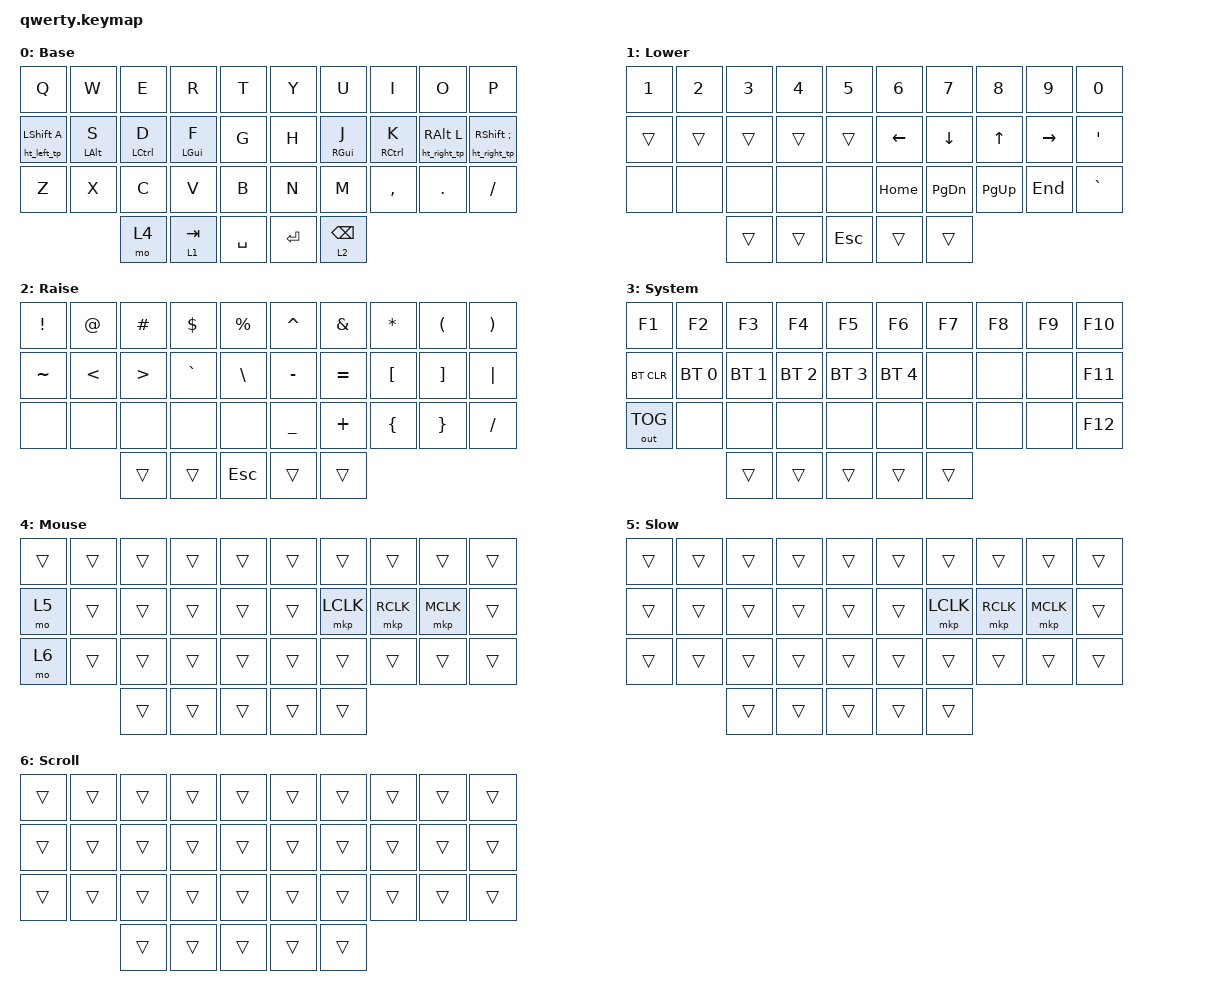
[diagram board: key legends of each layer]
/* upstream bindings and behaviors */
#include <behaviors.dtsi>
#include <dt-bindings/zmk/bt.h>
#include <dt-bindings/zmk/keys.h>
#include <dt-bindings/zmk/mouse.h>
#include <dt-bindings/zmk/outputs.h>
#include <behaviors/mouse_keys.dtsi>
#include <dt-bindings/zmk/ext_power.h>

/* local overlays */
#include "keymap_features/macros.dtsi"
#include "keymap_features/behaviors.dtsi"
#include "keymap_features/combos.dtsi"

/ {
/* --- KEYMAP CONFIG --- 3x5 Charybdis Nano, 35 keys per layer --- */
// ╭──────┬──────┬──────┬──────┬──────╮  ╭──────┬──────┬──────┬──────┬──────╮
//    00     01     02     03     04        05     06     07     08     09
// ├──────┼──────┼──────┼──────┼──────┤  ├──────┼──────┼──────┼──────┼──────┤
//    10     11     12     13     14        15     16     17     18     19
// ├──────┼──────┼──────┼──────┼──────┤  ├──────┼──────┼──────┼──────┼──────┤
//    20     21     22     23     24        25     26     27     28     29
// ╰──────┴──────┴──────┼──────┼──────┤  ├──────┼──────┼──────┴──────┴──────╯
//                         30     31     32     33     34
//                      ╰──────┴──────┴──────╯  ╰──────┴──────╯
//
// Cornix-style structure: 3 layers plus a tri-layer, down from the 8 this repo
// shipped. Home-row mod ORDER matches the Cornix and the Link
// (Shift Alt Ctrl Gui | Gui Ctrl Alt Shift), not the order this repo used.
//
// SCROLL and SLOW keep the trackball usable and their INDICES are referenced
// from config/trackball/charybdis_pointer.dtsi - renumbering them means
// editing that file too.
//
// Bootloader and sys_reset are deliberately NOT on any layer: they live on
// same-hand combos in combos.dtsi so neither needs the other hand.
//
// #define BASE    0
// #define LOWER   1   numbers, arrows           <- hold left thumb  (31)
// #define RAISE   2   symbols                   <- hold right thumb (34)
// #define SYSTEM  3   F-keys, bluetooth         <- hold 31 + 34 (tri-layer)
//   BT_SEL 0-4: all five profiles. The count is not a Kconfig - zmk/ble.h
//   computes it as BT_MAX_PAIRED(6) - SPLIT_BLE_CENTRAL_PERIPHERALS(1) = 5.
// #define MOUSE   4   ball still aims + J/K/L click <- hold left outer thumb (30)
// #define SLOW    5   precision pointer, ~267 CPI    <- hold 30, then A
// #define SCROLL  6   ball becomes a scroll wheel    <- hold 30, then Z
//
// MOUSE has no pointer override, so SLOW and SCROLL can hang off it without
// fighting it. Nesting SLOW inside SCROLL silently did nothing: both matched,
// and the first override declared in charybdis_pointer.dtsi won.
//
// Thumb 30 is a plain &mo, NOT a tap-dance. The tap-dance it replaced made the
// layer wait out its 150ms tapping term before even consulting its hold-tap,
// so clicks on this layer were 300ms+ away. &mo has no timing logic at all.
// ESC moved to the LOWER/RAISE thumbs (Cornix-style) for the same reason: as a
// tap-dance tap it had to wait 150ms to rule out a second tap.
//
// Row 3 right is &kp COMMA/DOT/FSLH, not the mm_* mod-morphs. Those overrode
// the natural shifted symbols, which made < > and ? unreachable.

    conditional_layers {
        compatible = "zmk,conditional-layers";
        tri_layer {
            if-layers = <1 2>;
            then-layer = <3>;
        };
    };

    keymap {
        compatible = "zmk,keymap";

        BASE {
            display-name = "Base";
            bindings = <
// ╭───────────────────┬───────────────┬────────────────┬───────────────┬──────╮  ╭──────┬─────────────────┬──────────────────┬───────────────────┬──────────────────────────────╮
    &kp Q                &kp W           &kp E            &kp R           &kp T    &kp Y   &kp U             &kp I              &kp O               &kp P
// ├───────────────────┼───────────────┼────────────────┼───────────────┼──────┤  ├──────┼─────────────────┼──────────────────┼───────────────────┼──────────────────────────────┤
    &ht_left_tp LSHFT A  &ht_left LALT S &ht_left LCTRL D &ht_left LGUI F &kp G    &kp H   &ht_right RGUI J  &ht_right RCTRL K  &ht_right_tp RALT L &ht_right_tp RSHFT SEMICOLON
// ├───────────────────┼───────────────┼────────────────┼───────────────┼──────┤  ├──────┼─────────────────┼──────────────────┼───────────────────┼──────────────────────────────┤
    &kp Z                &kp X           &kp C            &kp V           &kp B    &kp N   &kp M             &kp COMMA          &kp DOT             &kp FSLH
// ╰───────────────────┴───────────────┴────────────────┼───────────────┼──────┤  ├──────┼─────────────────┼──────────────────┴───────────────────┴──────────────────────────────╯
                                          &mo 4              &lt 1 TAB  &kp SPACE   &kp RET  &lt 2 BSPC
                                      // ╰─────────────────┴──────────┴──────╯  ╰────────┴───────────╯
            >;
        };

        LOWER {
            display-name = "Lower";
            bindings = <
// Row 1 passes through to BASE so the home-row mods still chord with numbers.
&kp N1  &kp N2  &kp N3  &kp N4  &kp N5      &kp N6    &kp N7     &kp N8     &kp N9     &kp N0
&trans  &trans  &trans  &trans  &trans      &kp LEFT  &kp DOWN   &kp UP     &kp RIGHT  &kp SQT
&none   &none   &none   &none   &none       &kp HOME  &kp PG_DN  &kp PG_UP  &kp END    &kp GRAVE
                        &trans  &trans  &kp ESC       &trans  &trans
            >;
        };

        RAISE {
            display-name = "Raise";
            bindings = <
&kp EXCL   &kp AT  &kp HASH  &kp DLLR   &kp PRCNT     &kp CARET  &kp AMPS   &kp ASTRK  &kp LPAR  &kp RPAR
// < and > kept from the old SYM layer, same positions.
&kp TILDE  &kp LT  &kp GT    &kp GRAVE  &kp BSLH      &kp MINUS  &kp EQUAL  &kp LBKT   &kp RBKT  &kp PIPE
&none      &none   &none     &none      &none         &kp UNDER  &kp PLUS   &kp LBRC   &kp RBRC  &kp FSLH
                             &trans     &trans  &kp ESC          &trans  &trans
            >;
        };

        SYSTEM {
            display-name = "System";
            bindings = <
&kp F1        &kp F2        &kp F3        &kp F4        &kp F5        &kp F6  &kp F7  &kp F8  &kp F9  &kp F10
&bt BT_CLR    &bt BT_SEL 0  &bt BT_SEL 1  &bt BT_SEL 2  &bt BT_SEL 3  &bt BT_SEL 4  &none  &none  &none  &kp F11
&out OUT_TOG  &none         &none         &none         &none         &none   &none   &none   &none   &kp F12
                                          &trans        &trans  &trans        &trans  &trans
            >;
        };

        MOUSE {
            display-name = "Mouse";
            bindings = <
// The ball keeps moving the pointer here - this layer has NO pointer override
// in charybdis_pointer.dtsi - so you can still aim while clicking.
//   A = hold for precision (SLOW)      Z = hold for scroll
&trans  &trans  &trans  &trans  &trans      &trans  &trans     &trans     &trans     &trans
&mo 5   &trans  &trans  &trans  &trans      &trans  &mkp LCLK  &mkp RCLK  &mkp MCLK  &trans
&mo 6   &trans  &trans  &trans  &trans      &trans  &trans     &trans     &trans     &trans
                        &trans  &trans  &trans      &trans  &trans
            >;
        };

        SLOW {
            display-name = "Slow";
            bindings = <
&trans  &trans  &trans  &trans  &trans      &trans  &trans     &trans     &trans     &trans
&trans  &trans  &trans  &trans  &trans      &trans  &mkp LCLK  &mkp RCLK  &mkp MCLK  &trans
&trans  &trans  &trans  &trans  &trans      &trans  &trans     &trans     &trans     &trans
                        &trans  &trans  &trans      &trans  &trans
            >;
        };

        SCROLL {
            display-name = "Scroll";
            bindings = <
&trans  &trans  &trans  &trans  &trans      &trans  &trans  &trans  &trans  &trans
&trans  &trans  &trans  &trans  &trans      &trans  &trans  &trans  &trans  &trans
&trans  &trans  &trans  &trans  &trans      &trans  &trans  &trans  &trans  &trans
                        &trans  &trans  &trans      &trans  &trans
            >;
        };
    };
};
